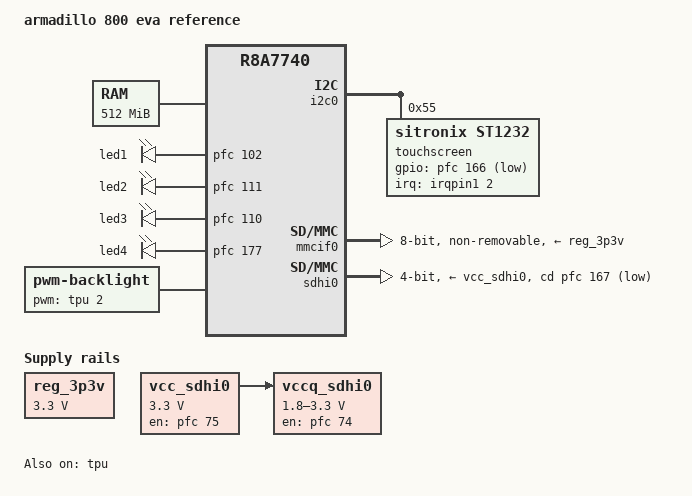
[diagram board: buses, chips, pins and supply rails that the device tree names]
/*
 * Reference Device Tree Source for the armadillo 800 eva board
 *
 * Copyright (C) 2012 Renesas Solutions Corp.
 *
 * This file is licensed under the terms of the GNU General Public License
 * version 2.  This program is licensed "as is" without any warranty of any
 * kind, whether express or implied.
 */

/dts-v1/;
#include "r8a7740.dtsi"
#include <dt-bindings/gpio/gpio.h>
#include <dt-bindings/pwm/pwm.h>

/ {
	model = "armadillo 800 eva reference";
	compatible = "renesas,armadillo800eva-reference", "renesas,r8a7740";

	chosen {
		bootargs = "console=tty0 console=ttySC1,115200 earlyprintk=sh-sci.1,115200 ignore_loglevel root=/dev/nfs ip=dhcp rw";
	};

	memory {
		device_type = "memory";
		reg = <0x40000000 0x20000000>;
	};

	reg_3p3v: regulator@0 {
		compatible = "regulator-fixed";
		regulator-name = "fixed-3.3V";
		regulator-min-microvolt = <3300000>;
		regulator-max-microvolt = <3300000>;
		regulator-always-on;
		regulator-boot-on;
	};

	vcc_sdhi0: regulator@1 {
		compatible = "regulator-fixed";

		regulator-name = "SDHI0 Vcc";
		regulator-min-microvolt = <3300000>;
		regulator-max-microvolt = <3300000>;

		gpio = <&pfc 75 GPIO_ACTIVE_HIGH>;
		enable-active-high;
	};

	vccq_sdhi0: regulator@2 {
		compatible = "regulator-gpio";

		regulator-name = "SDHI0 VccQ";
		regulator-min-microvolt = <1800000>;
		regulator-max-microvolt = <3300000>;
		vin-supply = <&vcc_sdhi0>;

		enable-gpio = <&pfc 74 GPIO_ACTIVE_HIGH>;
		gpios = <&pfc 17 GPIO_ACTIVE_HIGH>;
		states = <3300000 0
			  1800000 1>;

		enable-active-high;
	};

	leds {
		compatible = "gpio-leds";
		led1 {
			gpios = <&pfc 102 GPIO_ACTIVE_HIGH>;
		};
		led2 {
			gpios = <&pfc 111 GPIO_ACTIVE_HIGH>;
		};
		led3 {
			gpios = <&pfc 110 GPIO_ACTIVE_HIGH>;
		};
		led4 {
			gpios = <&pfc 177 GPIO_ACTIVE_HIGH>;
		};
	};

	backlight {
		compatible = "pwm-backlight";
		pwms = <&tpu 2 33333 PWM_POLARITY_INVERTED>;
		brightness-levels = <0 1 2 4 8 16 32 64 128 255>;
		default-brightness-level = <9>;
		pinctrl-0 = <&backlight_pins>;
		pinctrl-names = "default";
	};
};

&i2c0 {
	status = "okay";
	touchscreen@55 {
		compatible = "sitronix,st1232";
		reg = <0x55>;
		interrupt-parent = <&irqpin1>;
		interrupts = <2 0>; /* IRQ10: hwirq 2 on irqpin1 */
		pinctrl-0 = <&st1232_pins>;
		pinctrl-names = "default";
		gpios = <&pfc 166 GPIO_ACTIVE_LOW>;
	};
};

&pfc {
	pinctrl-0 = <&scifa1_pins>;
	pinctrl-names = "default";

	scifa1_pins: serial1 {
		renesas,groups = "scifa1_data";
		renesas,function = "scifa1";
	};

	st1232_pins: touchscreen {
		renesas,groups = "intc_irq10";
		renesas,function = "intc";
	};

	backlight_pins: backlight {
		renesas,groups = "tpu0_to2_1";
		renesas,function = "tpu0";
	};

	mmc0_pins: mmc0 {
		renesas,groups = "mmc0_data8_1", "mmc0_ctrl_1";
		renesas,function = "mmc0";
	};

	sdhi0_pins: sd0 {
		renesas,groups = "sdhi0_data4", "sdhi0_ctrl", "sdhi0_wp";
		renesas,function = "sdhi0";
	};
};

&tpu {
	status = "okay";
};

&mmcif0 {
	pinctrl-0 = <&mmc0_pins>;
	pinctrl-names = "default";

	vmmc-supply = <&reg_3p3v>;
	bus-width = <8>;
	non-removable;
	status = "okay";
};

&sdhi0 {
	pinctrl-0 = <&sdhi0_pins>;
	pinctrl-names = "default";

	vmmc-supply = <&vcc_sdhi0>;
	vqmmc-supply = <&vccq_sdhi0>;
	bus-width = <4>;
	cd-gpios = <&pfc 167 GPIO_ACTIVE_LOW>;
	status = "okay";
};
